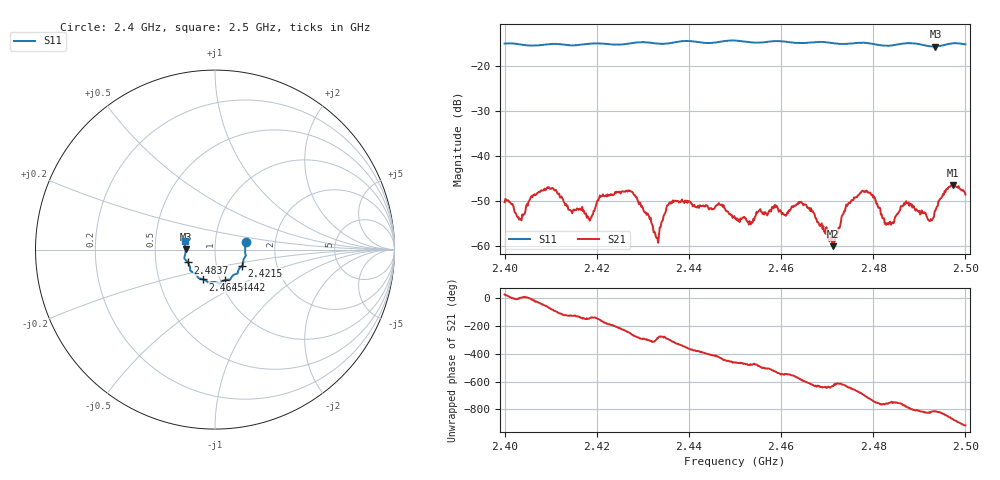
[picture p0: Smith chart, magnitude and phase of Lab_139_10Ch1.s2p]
# Hz S RI R 50
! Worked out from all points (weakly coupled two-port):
!   601 points, 2.4 GHz to 2.5 GHz, reference 50 ohm
!   highest |S21| = -46.38 dB at 2.4973 GHz (marker M1); lowest = -59.9 dB at 2.4712 GHz (marker M2)
!   lowest |S11| = -15.7 dB at 2.4935 GHz (marker M3), VSWR 1.39, Z = 35.9 + j0.285 ohm
!   |S11| at or under -10 dB: start of sweep to end of sweep
!   S12 and S22 are empty: the file has one direction only
!   S11 on the Smith chart (normalised r, x): 2.4 GHz: 1.41, +0.12; 2.4215 GHz: 1.33, -0.25; 2.4442 GHz: 1.05, -0.37; 2.4645 GHz: 0.83, -0.29; 2.4837 GHz: 0.73, -0.11; 2.5 GHz: 0.71, +0.07
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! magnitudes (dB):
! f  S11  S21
! 2.4 GHz  -15.1  -50.2
! 2.4032 GHz  -15.2  -54.1
! 2.4098 GHz  -15.2  -47.2
! 2.4167 GHz  -15.3  -51.9
! 2.4187 GHz  -15.1  -53.8
! 2.4215 GHz  -15.1  -48.8
! 2.4273 GHz  -15.0  -47.8
! 2.4333 GHz  -15.1  -59.2
! 2.4362 GHz  -14.9  -50.1
! 2.4442 GHz  -15.0  -51.3
! 2.45 GHz  -14.4  -53.8
! 2.4645 GHz  -15.0  -50.4
! 2.4667 GHz  -14.8  -52.3
! 2.4712 GHz  -15.0  -59.9
! 2.4742 GHz  -15.1  -50.7
! 2.4777 GHz  -14.9  -47.6
! 2.4833 GHz  -15.6  -55.1
! 2.4837 GHz  -15.5  -54.5
! 2.4872 GHz  -15.0  -50.0
! 2.4935 GHz  -15.7  -52.1
! 2.4973 GHz  -15.0  -46.4
! 2.5 GHz  -15.3  -48.5
